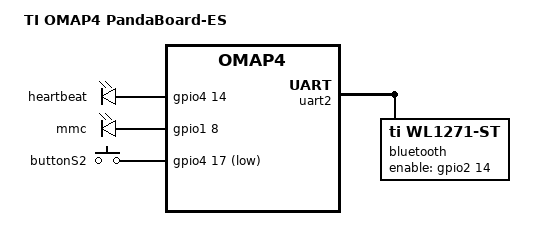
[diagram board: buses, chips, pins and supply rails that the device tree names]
// SPDX-License-Identifier: GPL-2.0-only
/*
 * Copyright (C) 2012 Texas Instruments Incorporated - https://www.ti.com/
 */
/dts-v1/;

#include "omap4460.dtsi"
#include "omap4-panda-common.dtsi"

/ {
	model = "TI OMAP4 PandaBoard-ES";
	compatible = "ti,omap4-panda-es", "ti,omap4-panda", "ti,omap4460", "ti,omap4430", "ti,omap4";
};

/* Audio routing is differnet between PandaBoard4430 and PandaBoardES */
&sound {
	ti,model = "PandaBoardES";

	/* Audio routing */
	ti,audio-routing =
		"Headset Stereophone", "HSOL",
		"Headset Stereophone", "HSOR",
		"Ext Spk", "HFL",
		"Ext Spk", "HFR",
		"Line Out", "AUXL",
		"Line Out", "AUXR",
		"AFML", "Line In",
		"AFMR", "Line In";
};

/* PandaboardES has external pullups on SCL & SDA */
&dss_hdmi_pins {
	pinctrl-single,pins = <
		OMAP4_IOPAD(0x09a, PIN_INPUT | MUX_MODE0)		/* hdmi_cec.hdmi_cec */
		OMAP4_IOPAD(0x09c, PIN_INPUT | MUX_MODE0)		/* hdmi_scl.hdmi_scl */
		OMAP4_IOPAD(0x09e, PIN_INPUT | MUX_MODE0)		/* hdmi_sda.hdmi_sda */
		>;
};

&omap4_pmx_core {
	led_gpio_pins: gpio-led-pmx-pins {
		pinctrl-single,pins = <
			OMAP4_IOPAD(0x0f6, PIN_OUTPUT | MUX_MODE3)	/* gpio_110 */
		>;
	};

	button_pins: button-pins {
		pinctrl-single,pins = <
			OMAP4_IOPAD(0x0fc, PIN_INPUT_PULLUP | MUX_MODE3) /* gpio_113 */
		>;
	};

	bt_pins: bt-pins {
		pinctrl-single,pins = <
			OMAP4_IOPAD(0x06c, PIN_OUTPUT | MUX_MODE3)		/* gpmc_a22.gpio_46 - BTEN */
			OMAP4_IOPAD(0x072, PIN_OUTPUT_PULLUP | MUX_MODE3)	/* gpmc_a25.gpio_49 - BTWAKEUP */
		>;
	};

	uart2_pins: uart2-pins {
		pinctrl-single,pins = <
			OMAP4_IOPAD(0x118, PIN_INPUT_PULLUP | MUX_MODE0)	/* uart2_cts.uart2_cts - HCI */
			OMAP4_IOPAD(0x11a, PIN_OUTPUT | MUX_MODE0)		/* uart2_rts.uart2_rts */
			OMAP4_IOPAD(0x11c, PIN_INPUT_PULLUP | MUX_MODE0)	/* uart2_rx.uart2_rx */
			OMAP4_IOPAD(0x11e, PIN_OUTPUT | MUX_MODE0)		/* uart2_tx.uart2_tx */
		>;
	};
};

&led_wkgpio_pins {
	pinctrl-single,pins = <
		OMAP4_IOPAD(0x05c, PIN_OUTPUT | MUX_MODE3)	/* gpio_wk8 */
	>;
};

&leds {
	pinctrl-0 = <
		&led_gpio_pins
		&led_wkgpio_pins
	>;

	heartbeat {
		gpios = <&gpio4 14 GPIO_ACTIVE_HIGH>;
	};
	mmc {
		gpios = <&gpio1 8 GPIO_ACTIVE_HIGH>;
	};
};

&gpio_keys {
	buttonS2 {
		gpios = <&gpio4 17 GPIO_ACTIVE_LOW>; /* gpio_113 */
	};
};

&gpio1_target {
	 ti,no-reset-on-init;
};

&wl12xx_gpio {
	pinctrl-single,pins = <
		OMAP4_IOPAD(0x066, PIN_OUTPUT | MUX_MODE3)		/* gpmc_a19.gpio_43 */
		OMAP4_IOPAD(0x070, PIN_OUTPUT_PULLUP | MUX_MODE3)	/* gpmc_a24.gpio_48 */
	>;
};

&uart2 {
	pinctrl-names = "default";
	pinctrl-0 = <&uart2_pins &bt_pins>;
	bluetooth: tiwi {
		compatible = "ti,wl1271-st";
		enable-gpios = <&gpio2 14 GPIO_ACTIVE_HIGH>;	/* GPIO_46 */
	};
};
